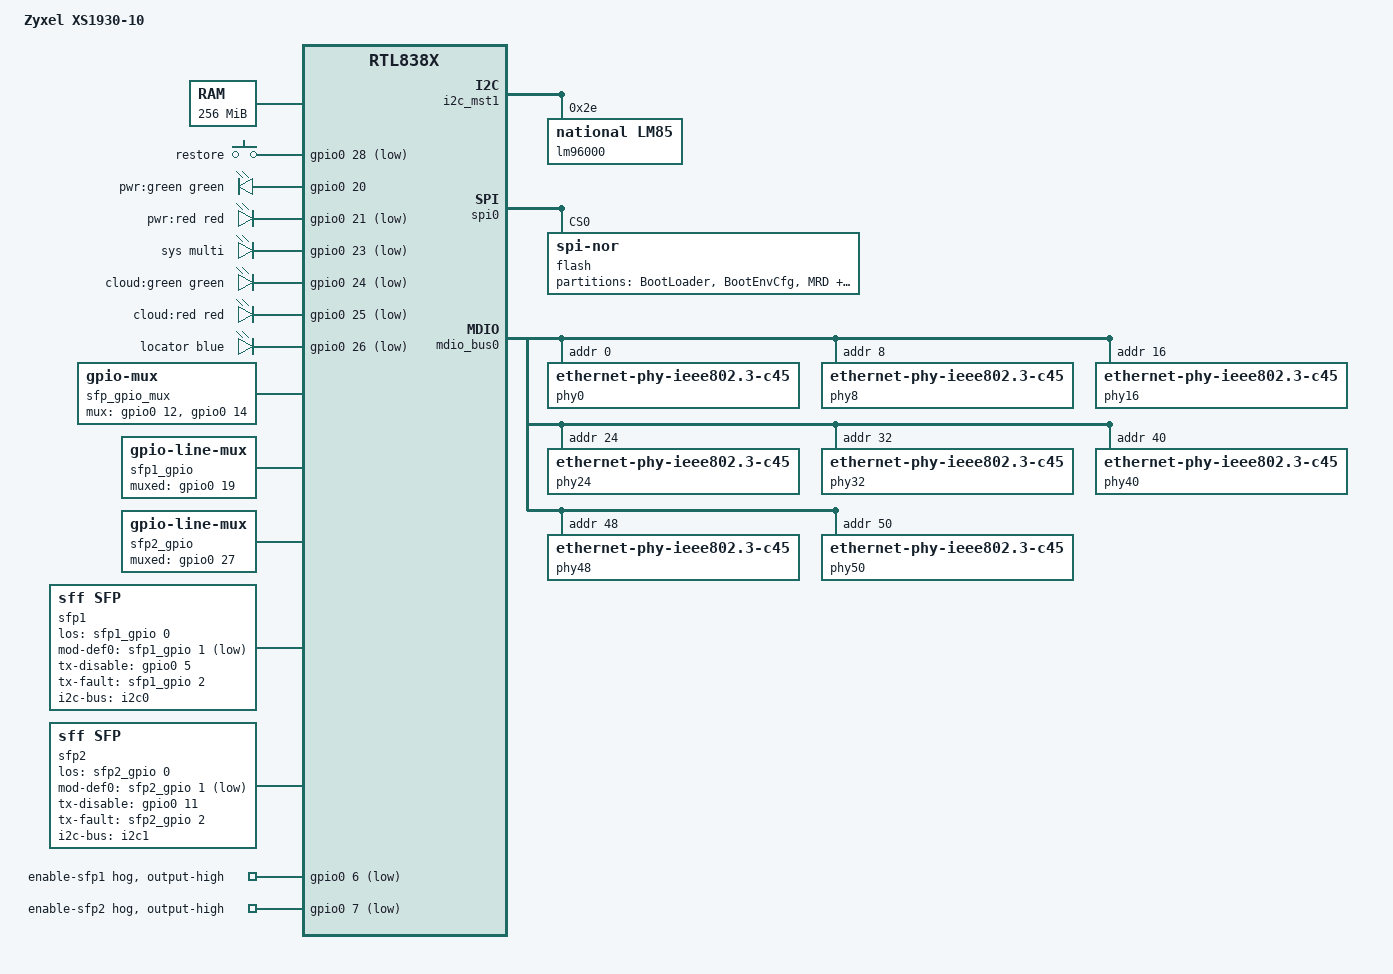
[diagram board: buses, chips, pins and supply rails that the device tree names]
// SPDX-License-Identifier: GPL-2.0-or-later
/dts-v1/;

#include "rtl931x.dtsi"

#include <dt-bindings/input/input.h>
#include <dt-bindings/gpio/gpio.h>
#include <dt-bindings/leds/common.h>
#include <dt-bindings/mux/mux.h>

/ {
	compatible = "zyxel,xs1930-10", "realtek,rtl838x-soc";
	model = "Zyxel XS1930-10";

	chosen {
		bootargs = "console=ttyS0,115200 earlycon ignore_loglevel earlyprintk";
	};

	memory@0 {
		device_type = "memory";
		reg = <0x00000000 0x10000000>;
	};

	/*
	aliases {
		led-boot = &led_sys;
		led-failsafe = &led_sys;
		led-running = &led_sys;
		led-upgrade = &led_sys;
	};
	*/

	keys {
		compatible = "gpio-keys";

		key-restore {
			label = "restore";
			gpios = <&gpio0 28 GPIO_ACTIVE_LOW>;
			linux,code = <KEY_RESTART>;
		};
	};

	leds {
		compatible = "gpio-leds";

		led_pwr_green: led-0 {
			reg = <0>;
			color = <LED_COLOR_ID_GREEN>;
			default-state = "on";
			gpios = <&gpio0 20 GPIO_ACTIVE_HIGH>;
			label = "pwr:green";
		};
		led_pwr_red: led-1 {
			reg = <1>;
			color = <LED_COLOR_ID_RED>;
			gpios = <&gpio0 21 GPIO_ACTIVE_LOW>;
			label = "pwr:red";
		};
		led_sys: led-2 {
			reg = <2>;
			color = <LED_COLOR_ID_MULTI>;
			default-state = "on";
			function = LED_FUNCTION_ACTIVITY;
			gpios = <&gpio0 23 GPIO_ACTIVE_LOW>;
			label = "sys";
		};
		led_cloud_green: led-3 {
			reg = <3>;
			color = <LED_COLOR_ID_GREEN>;
			gpios = <&gpio0 24 GPIO_ACTIVE_LOW>;
			label = "cloud:green";
		};
		led_cloud_red: led-4 {
			reg = <4>;
			color = <LED_COLOR_ID_RED>;
			gpios = <&gpio0 25 GPIO_ACTIVE_LOW>;
			label = "cloud:red";
		};
		led_locator: led-5 {
			reg = <5>;
			color = <LED_COLOR_ID_BLUE>;
			function = LED_FUNCTION_INDICATOR;
			gpios = <&gpio0 26 GPIO_ACTIVE_LOW>;
			label = "locator";
		};
	};

	led_set: led_set@0 {
		compatible = "realtek,rtl9300-leds";
		active-low;

		/* Blue | Green | Red */
		led_set0 = <(RTL93XX_LED_SET_10G | RTL93XX_LED_SET_5G | RTL93XX_LED_SET_2P5G | RTL93XX_LED_SET_LINK | RTL93XX_LED_SET_ACT)
			    (RTL93XX_LED_SET_2P5G | RTL93XX_LED_SET_1G | RTL93XX_LED_SET_100M | RTL93XX_LED_SET_LINK | RTL93XX_LED_SET_ACT)
			    (RTL93XX_LED_SET_5G | RTL93XX_LED_SET_100M | RTL93XX_LED_SET_LINK | RTL93XX_LED_SET_ACT)>;
		led_set1 = <(RTL93XX_LED_SET_10G | RTL93XX_LED_SET_LINK | RTL93XX_LED_SET_ACT)
			    (RTL93XX_LED_SET_1G | RTL93XX_LED_SET_LINK | RTL93XX_LED_SET_ACT)
			    RTL93XX_LED_SET_NONE>;

		realtek,led-set0-force-port-mask = <0x00300000 0x00000000>;
	};

	sfp_gpio_mux: gpio-mux {
		compatible = "gpio-mux";
		mux-gpios = <&gpio0 12 GPIO_ACTIVE_HIGH>,
			    <&gpio0 14 GPIO_ACTIVE_HIGH>;
		#mux-control-cells = <0>;
		idle-state = <MUX_IDLE_AS_IS>;
	};

	sfp1_gpio: sfp-gpio-1 {
		compatible = "gpio-line-mux";
		gpio-controller;
		#gpio-cells = <2>;

		mux-controls = <&sfp_gpio_mux>;
		muxed-gpio = <&gpio0 19 GPIO_ACTIVE_HIGH>;

		gpio-line-names = "SFP1_LOS", "SFP1_MOD_ABS", "SFP1_TX_FAULT";
		gpio-line-mux-states = <0>, <1>, <3>;
	};

	sfp2_gpio: sfp-gpio-2 {
		compatible = "gpio-line-mux";
		gpio-controller;
		#gpio-cells = <2>;

		mux-controls = <&sfp_gpio_mux>;
		muxed-gpio = <&gpio0 27 GPIO_ACTIVE_HIGH>;

		gpio-line-names = "SFP2_LOS", "SFP2_MOD_ABS", "SFP2_TX_FAULT";
		gpio-line-mux-states = <0>, <1>, <3>;
	};

	sfp1: sfp-p1 {
		compatible = "sff,sfp";
		i2c-bus = <&i2c0>;
		los-gpio = <&sfp1_gpio 0 GPIO_ACTIVE_HIGH>;
		mod-def0-gpio = <&sfp1_gpio 1 GPIO_ACTIVE_LOW>;
		tx-disable-gpio = <&gpio0 5 GPIO_ACTIVE_HIGH>;
		tx-fault-gpio = <&sfp1_gpio 2 GPIO_ACTIVE_HIGH>;
	};

	sfp2: sfp-p2 {
		compatible = "sff,sfp";
		i2c-bus = <&i2c1>;
		los-gpio = <&sfp2_gpio 0 GPIO_ACTIVE_HIGH>;
		mod-def0-gpio = <&sfp2_gpio 1 GPIO_ACTIVE_LOW>;
		tx-disable-gpio = <&gpio0 11 GPIO_ACTIVE_HIGH>;
		tx-fault-gpio = <&sfp2_gpio 2 GPIO_ACTIVE_HIGH>;
	};
};

&gpio0 {
	sfp1_enable_hog {
		gpio-hog;
		gpios = <6 GPIO_ACTIVE_LOW>;
		output-high;
		line-name = "enable-sfp1";
	};
	sfp2_enable_hog {
		gpio-hog;
		gpios = <7 GPIO_ACTIVE_LOW>;
		output-high;
		line-name = "enable-sfp2";
	};
};

&i2c_mst1 {
	status = "okay";

	i2c0: i2c@0 {
		reg = <0>;
	};
	i2c1: i2c@1 {
		reg = <1>;
	};

	i2c2: i2c@2 {
		reg = <2>;

		lm96000: lm96000@2e {
			compatible = "national,lm85";
			reg = <0x2e>;
		};
	};
};

&spi0 {
	status = "okay";

	flash@0 {
		compatible = "jedec,spi-nor";
		reg = <0>;

		partitions {
			compatible = "fixed-partitions";
			#address-cells = <1>;
			#size-cells = <1>;

			partition@0 {
				label = "BootLoader";
				reg = <0x0 0x9e000>;
			};
			partition@1 {
				label = "BootEnvCfg";
				reg = <0x9e000 0x1000>;
				read-only;
			};
			partition@2 {
				label = "MRD";
				reg = <0x9f000 0x1000>;
				read-only;
			};
			partition@3 {
				label = "DbgArea";
				reg = <0xa0000 0x20000>;
			};
			partition@4 {
				label = "RomDir2";
				reg = <0xc0000 0x120000>;
			};
			partition@5 {
				label = "LogArea1";
				reg = <0x1e0000 0x20000>;
			};
			partition@6 {
				label = "LogArea2";
				reg = <0x200000 0x20000>;
			};
			partition@7 {
				label = "License";
				reg = <0x220000 0x10000>;
			};
			partition@8 {
				label = "GenFS";
				reg = <0x230000 0x10000>;
			};
			partition@9 {
				label = "LogArea3";
				reg = <0x240000 0x20000>;
			};
			partition@10 {
				label = "Reserved";
				reg = <0x260000 0x20000>;
				read-only;
			};
			partition@11 {
				label = "RamParam";
				reg = <0x270000 0x10000>;
				read-only;
			};
			partition@12 {
				label = "BootExt";
				reg = <0x280000 0x30000>;
			};
			partition@13 {
				label = "MemMapT";
				reg = <0x2b0000 0x1400>;
				read-only;
			};
			partition@14 {
				label = "Termcap";
				reg = <0x2b1400 0x400>;
				read-only;
			};
			partition@15 {
				label = "RomDefa";
				reg = <0x2b1800 0x180000>;
			};
			partition@16 {
				label = "RasCode";
				reg = <0x431800 0xbce800>;
			};

			/* GAP: 0x1000000 - 0x10bffff */
			partition@17 {
				label = "GAP1";
				reg = <0x1000000 0xc0000>;
				read-only;
			};

			partition@18 {
				label = "RomDir2A";
				reg = <0x10c0000 0x120000>;
			};

			/* GAP: 0x11e0000 - 0x127ffff */
			partition@19 {
				label = "GAP2";
				reg = <0x11e0000 0xa0000>;
				read-only;
			};

			partition@20 {
				label = "BootExtA";
				reg = <0x1280000 0x30000>;
			};
			partition@21 {
				label = "MemMapTA";
				reg = <0x12b0000 0x1400>;
				read-only;
			};
			partition@22 {
				label = "TermcapA";
				reg = <0x12b1400 0x400>;
				read-only;
			};
			partition@23 {
				label = "RomDefaA";
				reg = <0x12b1800 0x180000>;
			};
			partition@24 {
				label = "RasCodeA";
				reg = <0x1431800 0xbce800>;
			};
		};
	};
};

&mdio_bus0 {

	/* External Aquantia AQR813 */
	phy0: ethernet-phy@0 {
		reg = <0>;
		compatible = "ethernet-phy-ieee802.3-c45";
		rtl9300,smi-address = <0 8>;
	};
	phy8: ethernet-phy@8 {
		reg = <8>;
		compatible = "ethernet-phy-ieee802.3-c45";
		rtl9300,smi-address = <0 9>;
	};
	phy16: ethernet-phy@16 {
		reg = <16>;
		compatible = "ethernet-phy-ieee802.3-c45";
		rtl9300,smi-address = <0 10>;
	};
	phy24: ethernet-phy@24 {
		reg = <24>;
		compatible = "ethernet-phy-ieee802.3-c45";
		rtl9300,smi-address = <0 11>;
	};
	phy32: ethernet-phy@32 {
		reg = <32>;
		compatible = "ethernet-phy-ieee802.3-c45";
		rtl9300,smi-address = <0 12>;
	};
	phy40: ethernet-phy@40 {
		reg = <40>;
		compatible = "ethernet-phy-ieee802.3-c45";
		rtl9300,smi-address = <0 13>;
	};
	phy48: ethernet-phy@48 {
		reg = <48>;
		compatible = "ethernet-phy-ieee802.3-c45";
		rtl9300,smi-address = <0 14>;
	};
	phy50: ethernet-phy@50 {
		reg = <50>;
		compatible = "ethernet-phy-ieee802.3-c45";
		rtl9300,smi-address = <0 15>;
	};
};

&switch0 {
	ports {
		#address-cells = <1>;
		#size-cells = <0>;

		/* Copper ports behind AQR813 */
		port0: port@0 {
			reg = <0>;
			label = SWITCH_PORT_LABEL(1);
			led-set = <0>;
			pcs-handle = <&serdes2>;
			phy-handle = <&phy0>;
			phy-mode = "usxgmii";
		};
		port8: port@8 {
			reg = <8>;
			label = SWITCH_PORT_LABEL(2);
			led-set = <0>;
			pcs-handle = <&serdes3>;
			phy-handle = <&phy8>;
			phy-mode = "usxgmii";
		};
		port16: port@16 {
			reg = <16>;
			label = SWITCH_PORT_LABEL(3);
			led-set = <0>;
			pcs-handle = <&serdes4>;
			phy-handle = <&phy16>;
			phy-mode = "usxgmii";
		};
		port24: port@24 {
			reg = <24>;
			label = SWITCH_PORT_LABEL(4);
			led-set = <0>;
			pcs-handle = <&serdes5>;
			phy-handle = <&phy24>;
			phy-mode = "usxgmii";
		};

		port32: port@32 {
			reg = <32>;
			label = SWITCH_PORT_LABEL(5);
			led-set = <0>;
			pcs-handle = <&serdes6>;
			phy-handle = <&phy32>;
			phy-mode = "usxgmii";
		};
		port40: port@40 {
			reg = <40>;
			label = SWITCH_PORT_LABEL(6);
			led-set = <0>;
			pcs-handle = <&serdes7>;
			phy-handle = <&phy40>;
			phy-mode = "usxgmii";
		};
		port48: port@48 {
			reg = <48>;
			label = SWITCH_PORT_LABEL(7);
			led-set = <0>;
			pcs-handle = <&serdes8>;
			phy-handle = <&phy48>;
			phy-mode = "usxgmii";
		};
		port50: port@50 {
			reg = <50>;
			label = SWITCH_PORT_LABEL(8);
			led-set = <0>;
			pcs-handle = <&serdes9>;
			phy-handle = <&phy50>;
			phy-mode = "usxgmii";
		};

		/* SFP+ ports */
		port@54 {
			reg = <54>;
			label = SWITCH_PORT_LABEL(9);
			led-set = <1>;
			pcs-handle = <&serdes12>;
			phy-mode = "1000base-x";
			sfp = <&sfp1>;
			managed = "in-band-status";
		};
		port@55 {
			reg = <55>;
			label = SWITCH_PORT_LABEL(10);
			led-set = <1>;
			pcs-handle = <&serdes13>;
			phy-mode = "1000base-x";
			sfp = <&sfp2>;
			managed = "in-band-status";
		};

		/* CPU port */
		port@56 {
			ethernet = <&ethernet0>;
			reg = <56>;
			phy-mode = "internal";
			fixed-link {
				speed = <1000>;
				full-duplex;
			};
		};
	};
};

&serdes6 {
	realtek,pnswap-rx;
	realtek,pnswap-tx;
};

&serdes7 {
	realtek,pnswap-rx;
	realtek,pnswap-tx;
};

&serdes8 {
	realtek,pnswap-rx;
	realtek,pnswap-tx;
};

&serdes9 {
	realtek,pnswap-rx;
	realtek,pnswap-tx;
};
